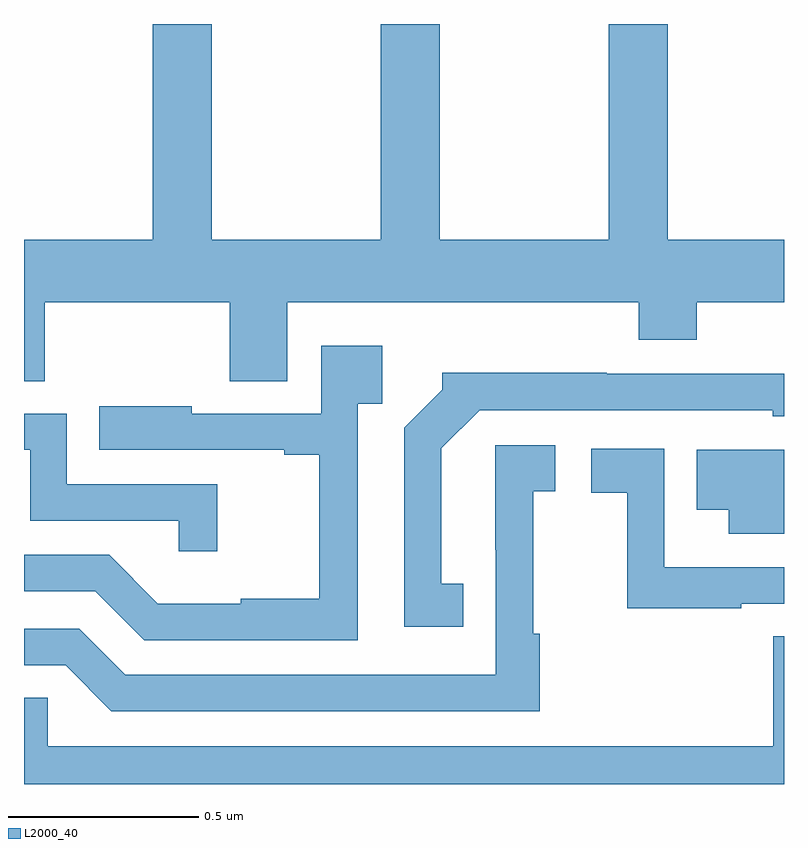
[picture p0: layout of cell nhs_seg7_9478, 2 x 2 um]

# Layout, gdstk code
import gdstk
lib = gdstk.Library(unit=1e-6, precision=1e-09)
def P(c, l, *ps):  # polygons
    for p in ps: c.add(gdstk.Polygon(p, *l))
L2000_40 = (2000, 40)

nhs_seg7_9478 = lib.new_cell('nhs_seg7_9478')
P(nhs_seg7_9478, L2000_40, [(238.055,1015.268),(238.541,1015.268),(238.541,1015.06),(238.693,1015.06),(238.693,1015.268),(239.618,1015.268),(239.618,1015.169),(239.77,1015.169),(239.77,1015.268),(240,1015.268),(240,1015.432),(239.694,1015.432),(239.694,1016),(239.539,1016),(239.539,1015.432),(239.094,1015.432),(239.094,1016),(238.939,1016),(238.939,1015.432),(238.494,1015.432),(238.494,1016),(238.339,1016),(238.339,1015.432),(238,1015.432),(238,1015.06),(238.055,1015.06)],
  [(238.878,1015.001),(238.943,1015.001),(238.943,1015.153),(238.782,1015.153),(238.782,1014.975),(238.441,1014.975),(238.441,1014.994),(238.198,1014.994),(238.198,1014.879),(238.685,1014.879),(238.685,1014.867),(238.777,1014.867),(238.777,1014.487),(238.571,1014.487),(238.571,1014.475),(238.352,1014.475),(238.224,1014.603),(238,1014.603),(238,1014.507),(238.188,1014.507),(238.317,1014.378),(238.878,1014.378)],
  [(239.156,1014.527),(239.098,1014.527),(239.098,1014.883),(239.199,1014.984),(239.97,1014.984),(239.97,1014.968),(240,1014.968),(240,1015.08),(239.534,1015.08),(239.534,1015.082),(239.1,1015.082),(239.1,1015.037),(239.001,1014.938),(239.001,1014.414),(239.156,1014.414)],
  [(238.508,1014.789),(238.113,1014.789),(238.113,1014.975),(238,1014.975),(238,1014.879),(238.017,1014.879),(238.017,1014.693),(238.407,1014.693),(238.407,1014.612),(238.508,1014.612)],
  [(239.357,1014.395),(239.34,1014.395),(239.34,1014.771),(239.398,1014.771),(239.398,1014.892),(239.24,1014.892),(239.24,1014.616),(239.241,1014.616),(239.241,1014.288),(238.266,1014.288),(238.146,1014.408),(238,1014.408),(238,1014.312),(238.11,1014.312),(238.23,1014.192),(239.357,1014.192)],
  [(239.888,1014.474),(240,1014.474),(240,1014.57),(239.686,1014.57),(239.686,1014.571),(239.685,1014.571),(239.685,1014.882),(239.493,1014.882),(239.493,1014.766),(239.587,1014.766),(239.587,1014.462),(239.888,1014.462)],
  [(240,1014.88),(239.77,1014.88),(239.77,1014.722),(239.855,1014.722),(239.855,1014.659),(240,1014.659)],
  [(240,1014.389),(239.972,1014.389),(239.972,1014.1),(238.062,1014.1),(238.062,1014.227),(238,1014.227),(238,1014),(240,1014)])

lib.write_gds('nhs_seg7_9478.gds')
